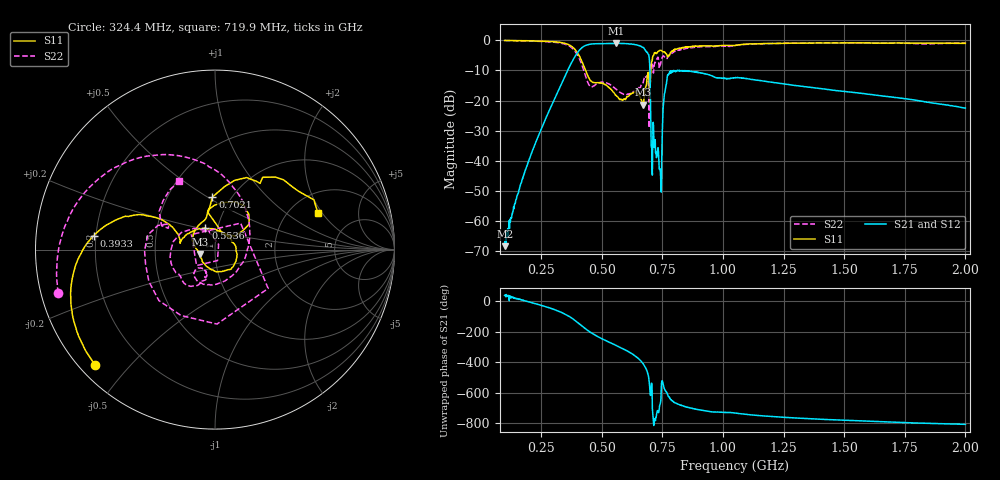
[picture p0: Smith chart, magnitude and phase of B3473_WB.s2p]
! Matrix data file written by TouchstoneData, EPCOS AG
! FILENAME: "AB75A_12_WB.pli.snp"
! COMMENT: "(TS/AB75A_12_WB.s2p) Epcos AG 8/29/2013 10:2"
! INFO: nport=2, nfreq=1601
! DATE: "Fri Sep  6 13:22:49 2013"
! USER: "BengChuan Ng"
! port | pin | signal
!  1  |  1  | input
!  2  |  2  | output
# MHZ S RI R 50
! freq  reS11 imS11  reS21 imS21  reS12 imS12  reS22 imS22
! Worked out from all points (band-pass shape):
!   1601 points, 100 MHz to 2 GHz, reference 50 ohm
!   highest |S21| = -1.01 dB at 560.8 MHz (marker M1); lowest = -68.3 dB at 103.6 MHz (marker M2)
!   |S21| within 3 dB of the highest: 401.4 MHz to 688.1 MHz (286.7 MHz wide, 52.6 % of centre)
!   lowest |S11| = -21.4 dB at 671.2 MHz (marker M3), VSWR 1.19, Z = 42.4 - j2.06 ohm
!   |S11| at or under -10 dB: 433.9 MHz to 702.5 MHz (268.6 MHz wide, 47.3 % of centre)
!   |S22| runs from -29.1 to -0.1 dB; largest |S21 - S12| = 0
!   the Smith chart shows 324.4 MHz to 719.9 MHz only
!   S11 on the Smith chart (normalised r, x): 324.4 MHz: 0.04, -0.40; 393.3 MHz: 0.19, +0.06; 553.6 MHz: 0.88, +0.21; 702.1 MHz: 0.82, +0.53; 719.9 MHz: 2.83, +1.82
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100  0.7576 -0.6403  0.000346 0.000265  0.000346 0.000265  0.6236 -0.7709
103.5625  0.7417 -0.659  0.000313 0.000222  0.000313 0.000222  0.6003 -0.7887
216.375  0.0666 -0.9752  0.0149 -0.00322  0.0149 -0.00322  -0.2649 -0.931
324.4375  -0.6658 -0.6443  0.061 -0.1435  0.061 -0.1435  -0.8733 -0.2419
393.3125  -0.6746 0.078  -0.3582 -0.4343  -0.3582 -0.4343  -0.3576 0.5233
417.0625  -0.4185 0.1948  -0.698 -0.2557  -0.698 -0.2557  0.0536 0.4024
484.75  -0.1942 0.0391  -0.5351 0.6935  -0.5351 0.6935  0.00274 -0.1937
553.625  -0.0531 0.119  0.2309 0.8578  0.2309 0.8578  -0.1112 -0.1163
560.75  -0.0285 0.1166  0.3094 0.8344  0.3094 0.8344  -0.1055 -0.1102
629.625  0.1106 -0.0767  0.8417 0.1686  0.8417 0.1686  -0.049 -0.1313
671.1875  -0.0818 -0.0241  0.4972 -0.5743  0.4972 -0.5743  -0.0779 -0.1827
690.1875  0.0725 0.2646  -0.237 -0.5568  -0.237 -0.5568  -0.2448 0.00139
702.0625  -0.0141 0.2932  -0.0116 0.0516  -0.0116 0.0516  0.2961 -0.2163
719.875  0.5744 0.2023  0.0123 -0.0173  0.0123 -0.0173  -0.1988 0.3816
734.125  0.6553 -0.0324  0.0146 -0.00215  0.0146 -0.00215  0.4284 0.2299
743.625  0.6506 -0.1979  0.00227 0.00455  0.00227 0.00455  0.381 0.1694
780.4375  0.4864 -0.3066  0.0184 0.3008  0.0184 0.3008  0.4848 -0.2918
868.3125  0.2666 -0.7376  0.2872 0.1049  0.2872 0.1049  0.149 -0.7437
1050  -0.1836 -0.7947  0.2348 -0.0472  0.2348 -0.0472  -0.3194 -0.7564
1367.062  -0.652 -0.6225  0.1064 -0.1258  0.1064 -0.1258  -0.7549 -0.4913
1684.125  -0.8358 -0.3354  0.0389 -0.1091  0.0389 -0.1091  -0.8826 -0.1737
2000  -0.8866 -0.0268  0.005 -0.0746  0.005 -0.0746  -0.8831 0.1191
